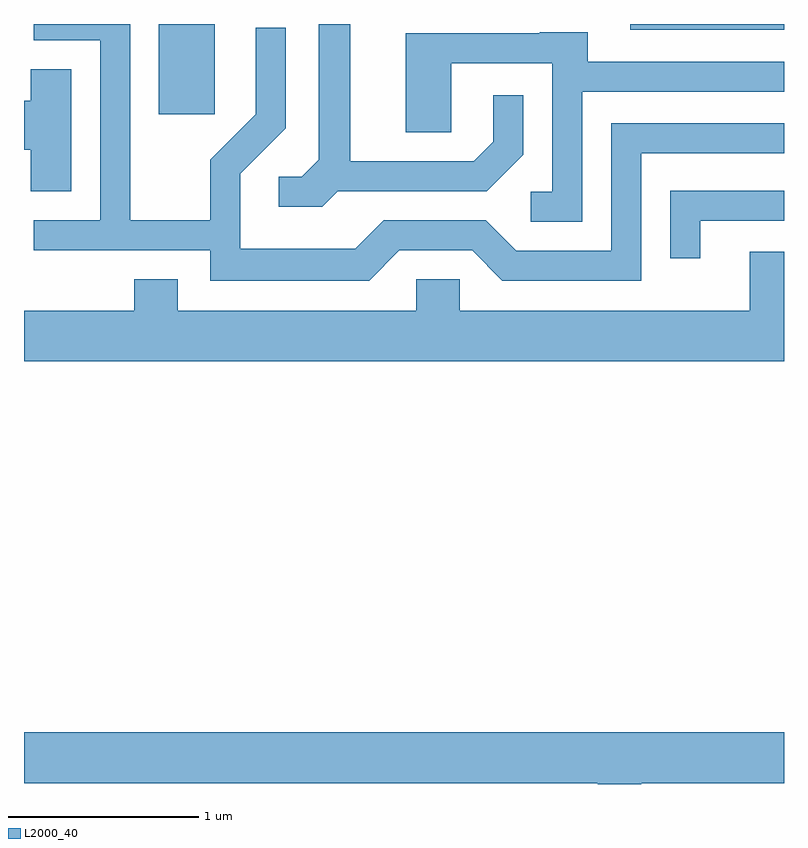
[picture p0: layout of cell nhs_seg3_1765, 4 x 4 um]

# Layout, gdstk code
import gdstk
lib = gdstk.Library(unit=1e-6, precision=1e-09)
def R(c, l, rs):  # rectangles x0, y0, x1, y1
    for r in rs: c.add(gdstk.rectangle(r[:2], r[2:], *l))
def P(c, l, *ps):  # polygons
    for p in ps: c.add(gdstk.Polygon(p, *l))
L2000_40 = (2000, 40)

nhs_seg3_1765 = lib.new_cell('nhs_seg3_1765')
R(nhs_seg3_1765, L2000_40, [(236.321,1249.416,236.614,1249.892), (238.801,1249.861,239.611,1249.892)])
P(nhs_seg3_1765, L2000_40, [(237.262,1249.011),(238.047,1249.011),(238.239,1249.204),(238.239,1249.518),(238.081,1249.518),(238.081,1249.272),(237.979,1249.169),(237.329,1249.169),(237.329,1249.892),(237.161,1249.892),(237.161,1249.177),(237.074,1249.089),(236.953,1249.089),(236.953,1248.931),(237.182,1248.931)],
  [(237.587,1248.701),(237.969,1248.701),(238.129,1248.541),(238.859,1248.541),(238.859,1249.211),(239.611,1249.211),(239.611,1249.369),(238.701,1249.369),(238.701,1248.699),(238.202,1248.699),(238.042,1248.859),(237.504,1248.859),(237.354,1248.709),(236.749,1248.709),(236.749,1249.104),(236.989,1249.344),(236.989,1249.873),(236.831,1249.873),(236.831,1249.417),(236.591,1249.177),(236.591,1248.859),(236.169,1248.859),(236.169,1249.892),(235.663,1249.892),(235.663,1249.806),(236.011,1249.806),(236.011,1248.859),(235.663,1248.859),(235.663,1248.701),(236.591,1248.701),(236.591,1248.541),(237.427,1248.541)],
  [(238.549,1249.536),(239.611,1249.536),(239.611,1249.694),(238.579,1249.694),(238.579,1249.849),(238.325,1249.849),(238.325,1249.844),(237.621,1249.844),(237.621,1249.321),(237.859,1249.321),(237.859,1249.686),(238.391,1249.686),(238.391,1249.009),(238.278,1249.009),(238.278,1248.851),(238.549,1248.851)],
  [(235.859,1249.654),(235.646,1249.654),(235.646,1249.489),(235.611,1249.489),(235.611,1249.231),(235.646,1249.231),(235.646,1249.011),(235.859,1249.011)],
  [(239.169,1248.856),(239.611,1248.856),(239.611,1249.014),(239.011,1249.014),(239.011,1248.658),(239.169,1248.658)],
  [(239.611,1248.694),(239.431,1248.694),(239.431,1248.384),(237.904,1248.384),(237.904,1248.549),(237.676,1248.549),(237.676,1248.384),(236.419,1248.384),(236.419,1248.549),(236.191,1248.549),(236.191,1248.384),(235.611,1248.384),(235.611,1248.116),(239.611,1248.116)],
  [(238.859,1245.896),(239.611,1245.896),(239.611,1246.164),(235.611,1246.164),(235.611,1245.896),(238.631,1245.896),(238.631,1245.892),(238.859,1245.892)])

lib.write_gds('nhs_seg3_1765.gds')
